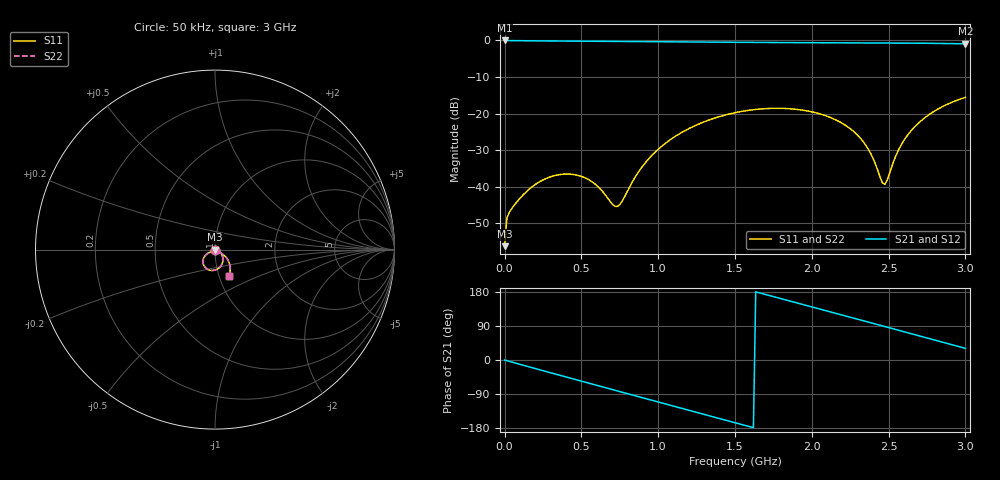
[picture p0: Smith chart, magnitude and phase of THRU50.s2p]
! THRU50: 50 ohm microstrip thru
! Predicted from examples/coupon/si-coupon.tsx by scripts/predict-coupon.tsx (routed 2.5D ladder, 185 series cells, ngspice AC).
! SMA pads enter as parallel-plate C; connector bodies are not modelled, so compare through the FIX2X 2x-thru.
! Port order: J3, J4.
# HZ S RI R 50
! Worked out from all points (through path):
!   201 points, 50 kHz to 3 GHz, reference 50 ohm
!   highest |S21| = -0.01 dB at 50 kHz (marker M1); lowest = -0.9 dB at 3 GHz (marker M2)
!   group delay of S21, straight-line fit = 304 ps
!   lowest |S11| = -56.2 dB at 50 kHz (marker M3), VSWR 1.00, Z = 50.2 + j0.00413 ohm
!   |S11| at or under -10 dB: start of sweep to end of sweep
!   |S22| runs from -56.2 to -15.6 dB; largest |S21 - S12| = 0
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50000  0.00155 4.12e-05  0.9984 -0.000149  0.9984 -0.000149  0.00155 4.12e-05
1.504975e7  0.00374 0.000505  0.9952 -0.0318  0.9952 -0.0318  0.00374 0.000505
1.500475e8  0.0044 -0.00776  0.9444 -0.2903  0.9444 -0.2903  0.0044 -0.00776
3.300445e8  -0.00215 -0.0142  0.7826 -0.5916  0.7826 -0.5916  -0.00215 -0.0142
5.100415e8  -0.00672 -0.0119  0.5316 -0.8174  0.5316 -0.8174  -0.00672 -0.0119
7.350378e8  0.00164 -0.00515  0.1392 -0.9583  0.1392 -0.9583  0.00164 -0.00515
8.850352e8  0.0161 -0.00704  -0.1379 -0.9541  -0.1379 -0.9541  0.0161 -0.00704
1.005033e9  0.0292 -0.0159  -0.3505 -0.8941  -0.3505 -0.8941  0.0292 -0.0159
1.260029e9  0.0445 -0.0561  -0.7223 -0.6198  -0.7223 -0.6198  0.0445 -0.0561
1.500025e9  0.0247 -0.1  -0.9132 -0.2353  -0.9132 -0.2353  0.0247 -0.1
1.755021e9  -0.0253 -0.1155  -0.9103 0.2136  -0.9103 0.2136  -0.0253 -0.1155
2.010016e9  -0.0644 -0.0825  -0.704 0.6082  -0.704 0.6082  -0.0644 -0.0825
2.175014e9  -0.063 -0.0469  -0.4814 0.7942  -0.4814 0.7942  -0.063 -0.0469
2.295012e9  -0.0455 -0.0243  -0.288 0.8816  -0.288 0.8816  -0.0455 -0.0243
2.38501e9  -0.0246 -0.0137  -0.1321 0.9168  -0.1321 0.9168  -0.0246 -0.0137
2.460009e9  -0.00382 -0.0107  0.000978 0.9248  0.000978 0.9248  -0.00382 -0.0107
2.475009e9  0.000553 -0.0108  0.0277 0.9241  0.0277 0.9241  0.000553 -0.0108
2.505008e9  0.00941 -0.0118  0.0809 0.9202  0.0809 0.9202  0.00941 -0.0118
2.580007e9  0.0314 -0.019  0.212 0.8967  0.212 0.8967  0.0314 -0.019
2.670006e9  0.0554 -0.0361  0.3621 0.8435  0.3621 0.8435  0.0554 -0.0361
2.820003e9  0.0813 -0.0814  0.5817 0.7001  0.5817 0.7001  0.0813 -0.0814
3e9  0.0781 -0.1474  0.7733 0.4589  0.7733 0.4589  0.0781 -0.1474
